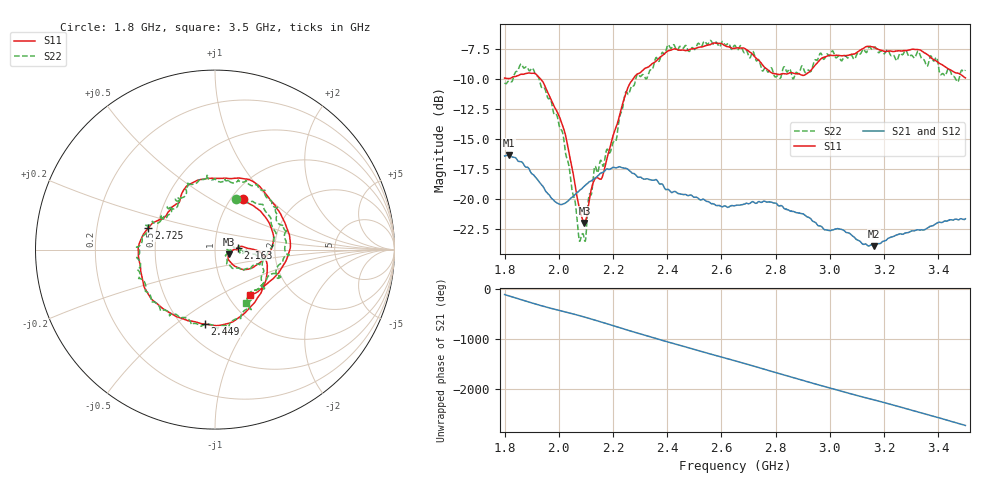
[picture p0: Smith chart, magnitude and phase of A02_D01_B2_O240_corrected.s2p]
! Created with skrf 1.9.0 (http://scikit-rf.org).
# Hz S RI R 50.0
!freq ReS11 ImS11 ReS21 ImS21 ReS12 ImS12 ReS22 ImS22
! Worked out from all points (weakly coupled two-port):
!   1601 points, 1.8 GHz to 3.5 GHz, reference 50 ohm
!   highest |S21| = -16.33 dB at 1.817 GHz (marker M1); lowest = -23.9 dB at 3.163 GHz (marker M2)
!   lowest |S11| = -22.0 dB at 2.094 GHz (marker M3), VSWR 1.17, Z = 58.1 - j2.95 ohm
!   |S11| at or under -10 dB: 1.934 GHz to 2.273 GHz (338.8 MHz wide, 16.1 % of centre)
!   |S22| runs from -23.5 to -6.8 dB; largest |S21 - S12| = 0.0031
!   S11 on the Smith chart (normalised r, x): 1.8 GHz: 1.13, +0.71; 2.163 GHz: 1.29, +0.03; 2.449 GHz: 0.64, -0.65; 2.725 GHz: 0.45, +0.13; 3.5 GHz: 1.26, -0.71
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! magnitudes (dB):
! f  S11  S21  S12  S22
! 1.8 GHz  -9.9  -16.4  -16.4  -10.3
! 1.817 GHz  -9.9  -16.3  -16.3  -10.1
! 1.902 GHz  -9.5  -17.9  -17.9  -9.1
! 1.968 GHz  -11.5  -19.8  -19.8  -11.6
! 2.022 GHz  -14.4  -20.3  -20.3  -15.7
! 2.084 GHz  -21.4  -19.1  -19.1  -23.0
! 2.094 GHz  -22.0  -18.9  -18.9  -23.3
! 2.131 GHz  -18.4  -18.3  -18.3  -17.3
! 2.163 GHz  -17.9  -17.7  -17.7  -17.2
! 2.209 GHz  -14.1  -17.4  -17.3  -15.2
! 2.259 GHz  -10.5  -17.6  -17.6  -11.2
! 2.367 GHz  -8.3  -18.6  -18.6  -8.5
! 2.449 GHz  -7.6  -19.6  -19.6  -7.3
! 2.65 GHz  -7.4  -20.5  -20.5  -7.2
! 2.725 GHz  -8.2  -20.3  -20.3  -8.3
! 2.809 GHz  -9.6  -20.5  -20.4  -9.8
! 2.934 GHz  -9.1  -21.8  -21.7  -9.2
! 3.163 GHz  -7.3  -23.9  -23.9  -7.3
! 3.217 GHz  -7.6  -23.2  -23.2  -7.7
! 3.331 GHz  -7.5  -22.6  -22.6  -7.9
! 3.468 GHz  -9.5  -21.7  -21.7  -10.2
! 3.5 GHz  -9.9  -21.6  -21.6  -9.2
